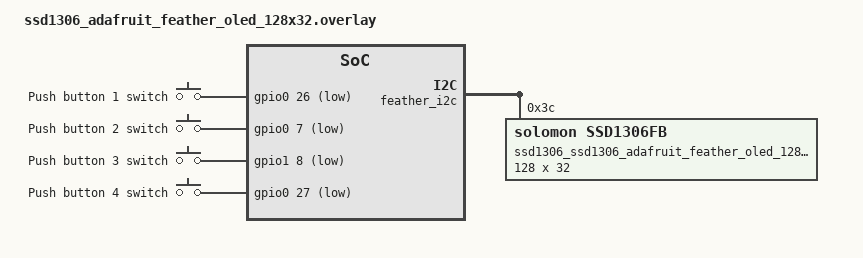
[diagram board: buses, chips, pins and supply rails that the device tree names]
/*
   Adafruit Feather Wing OLED 128x32
   with 4 Buttons
*/

/ {
	chosen {
		zephyr,display = &ssd1306_ssd1306_adafruit_feather_oled_128x32;
	};
};

&feather_i2c {
	status = "okay";

	ssd1306_ssd1306_adafruit_feather_oled_128x32: ssd1306@3c {
		compatible = "solomon,ssd1306fb";
		reg = <0x3c>;
		width = <128>;
		height = <32>;
		segment-offset = <0>;
		page-offset = <0>;
		display-offset = <0>;
		multiplex-ratio = <31>;
		segment-remap;
		com-invdir;
		com-sequential;
		prechargep = <0x22>;
	};
};


/ {
	buttons {
		compatible = "gpio-keys";
		// D5  is P1.08
		// D6  is P0.07
		// D7  is P1.02 (Button)
		// D8  is P0.16 (NeoPixel)
		// D9  is P0.26
		// D10 is P0.27
		/* GPIO D9 -> P0.26 */
		button1: button_1 {
			gpios = <&gpio0 26 (GPIO_PULL_UP | GPIO_ACTIVE_LOW)>;
			label = "Push button 1 switch";
		};
		/* GPIO D6 -> P0.07 */
		button2: button_2 {
			gpios = <&gpio0 7 (GPIO_PULL_UP | GPIO_ACTIVE_LOW)>;
			label = "Push button 2 switch";
		};
		/* GPIO D5 -> P1.08 */
		button3: button_3 {
			gpios = <&gpio1 8 (GPIO_PULL_UP | GPIO_ACTIVE_LOW)>;
			label = "Push button 3 switch";
		};
		/* GPIO D10 -> P0.27 */
		button4: button_4 {
			gpios = <&gpio0 27 (GPIO_PULL_UP | GPIO_ACTIVE_LOW)>;
			label = "Push button 4 switch";			
		};
	};
};

/ {
	aliases {
		sw1 = &button1;
		sw2 = &button2;
		sw3 = &button3;
		sw4 = &button4;
	};
};

/*
Local Variables: 
mode: dts
End:
*/
